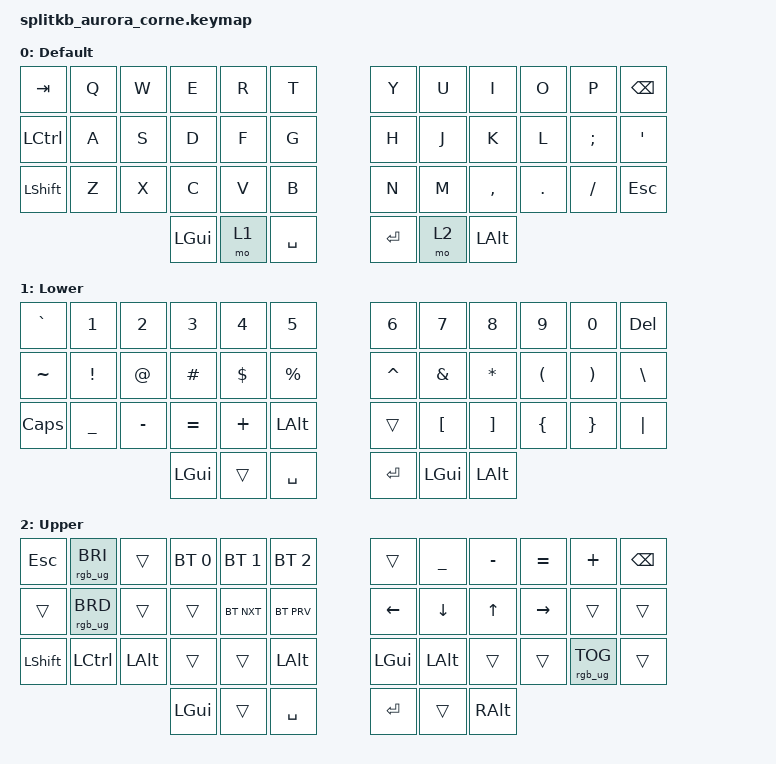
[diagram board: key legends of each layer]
/*
 * Copyright (c) 2020 The ZMK Contributors
 *
 * SPDX-License-Identifier: MIT
 */

#include <behaviors.dtsi>
#include <dt-bindings/zmk/keys.h>
#include <dt-bindings/zmk/bt.h>
#include <dt-bindings/zmk/rgb.h>

/ {

/****************************************
* Map keys to layers
****************************************/

        keymap {
                compatible = "zmk,keymap";

                /********************************
                * Layer: Default (&mo 0)
                ********************************/
                default_layer {
                        display-name = "Default";
                        bindings = <
// [    pinky    I      pinky       I    ring      I    middle    I   pointer   I   pointer   ]        [   pointer   I   pointer   I    middle    I     ring     I     pinky     I    pinky   ]
// ┌─────────────┬──────────────────┬──────────────┬──────────────┬─────────────┬─────────────┐        ┌─────────────┬─────────────┬──────────────┬──────────────┬───────────────┬────────────┐
// ⎮    TAB      |        Q         |      W       |      E       |      R      |      T      |        |      Y      |      U      |      I       |      O       |       P       |   BSPC ⌫   |
      &kp TAB           &kp Q            &kp W          &kp E          &kp R         &kp T                  &kp Y         &kp U         &kp I          &kp O           &kp P        &kp BSPC
// ├─────────────┼──────────────────┼──────────────┼──────────────┼─────────────┼─────────────┤        ├─────────────┼─────────────┼──────────────┼──────────────┼───────────────┼────────────┤
// |  CTRL (⌃)   |        A         |      S       |      D       |      F      |      G      |        |      H      |      J      |      K       |      L       |       ;       |     '      |
      &kp LCTRL         &kp A            &kp S          &kp D          &kp F         &kp G                  &kp H         &kp J         &kp K          &kp L         &kp SEMI        &kp SQT
// ├─────────────┼──────────────────┼──────────────┼──────────────┼─────────────┼─────────────┤        ├─────────────┼─────────────┼──────────────┼──────────────┼───────────────┼────────────┤
// |    SHFT     |        Z         |      X       |      C       |      V      |      B      |        |      N      |      M      |      ,       |      .       |       /       |     ESC    |
      &kp LSHFT         &kp Z            &kp X          &kp C          &kp V         &kp B                  &kp N         &kp M        &kp COMMA      &kp DOT        &kp FSLH        &kp ESC
// └─────────────┴──────────────────┴──────────────┼──────────────┬─────────────┬─────────────┤        ├─────────────┬─────────────┬──────────────┬──────────────┴───────────────┴────────────┘
//                                                 |   GUI (⌘)    |    LOWER    |     SPC     |        |     ENT     |    RAISE    |    OPT (⌥)   |
                                                     &kp LGUI         &mo 1       &kp SPACE                &kp RET        &mo 2        &kp LALT
//                                                 └──────────────┴─────────────┴─────────────┘        └─────────────┴─────────────┴──────────────┘
                        >;
                };

                /********************************
                * Layer: Lower (&mo 1)
                ********************************/
                lower_layer {
                        display-name = "Lower";
                        bindings = <
// ┌─────────────┬──────────────────┬──────────────┬──────────────┬─────────────┬─────────────┐        ┌─────────────┬─────────────┬──────────────┬──────────────┬───────────────┬────────────┐
// |      `      |        1         |      2       |      3       |     4       |      5      |        |      6      |      7      |      8       |      9       |       0       |   DEL ⌦    |
      &kp GRAVE         &kp N1           &kp N2         &kp N3        &kp N4         &kp N5                &kp N6        &kp N7        &kp N8          &kp N9          &kp N0        &kp DEL
// ├─────────────┼──────────────────┼──────────────┼──────────────┼─────────────┼─────────────┤        ├─────────────┼─────────────┼──────────────┼──────────────┼───────────────┼────────────┤
// |      ~      |        !         |      @       |      #       |     $       |      %      |        |      ^      |      &      |      *       |      (       |       )       |     \      |
      &kp TILDE        &kp EXCL         &kp AT         &kp HASH      &kp DLLR      &kp PRCNT              &kp CARET      &kp AMPS     &kp ASTRK       &kp LPAR        &kp RPAR       &kp BSLH
// ├─────────────┼──────────────────┼──────────────┼──────────────┼─────────────┼─────────────┤        ├─────────────┼─────────────┼──────────────┼──────────────┼───────────────┼────────────┤
// |  CAPS LOCK  |        _         |      -       |      =       |     +       |   OPT (⌥)   |        |             |      [      |      ]       |      {       |       }       |    "|"     |
      &kp CAPS         &kp UNDER        &kp MINUS      &kp EQUAL     &kp PLUS      &kp LALT                 &trans       &kp LBKT      &kp RBKT       &kp LBRC        &kp RBRC       &kp PIPE
// └─────────────┴──────────────────┴──────────────┼──────────────┬─────────────┬─────────────┤        ├─────────────┬─────────────┬──────────────┬──────────────┴───────────────┴────────────┘
//                                                 |   GUI (⌘)    |#############|     SPC     |        |     ENT     |   GUI (⌘)   |    OPT (⌥)   |
                                                       &kp LGUI       &trans       &kp SPACE               &kp RET       &kp LGUI      &kp LALT
//                                                 └──────────────┴─────────────┴─────────────┘        └─────────────┴─────────────┴──────────────┘
                        >;
                };

                /********************************
                * Layer: Upper (&mo 2)
                ********************************/
                raise_layer {
                        display-name = "Upper";
                        bindings = <
// ┌─────────────┬──────────────────┬──────────────┬──────────────┬─────────────┬─────────────┐        ┌─────────────┬─────────────┬──────────────┬──────────────┬───────────────┬─────────────┐
// |    ESC      |   Underqglow +   |              |    BT 0      |    BT 1     |    BT 2     |        |             |      _      |      -       |      =       |       +       |    BSPC ⌫   |
       &kp ESC     &rgb_ug RGB_BRI       &trans      &bt BT_SEL 0   &bt BT_SEL 1  &bt BT_SEL 2             &trans       &kp UNDER     &kp MINUS      &kp EQUAL       &kp PLUS        &kp BSPC
// ├─────────────┼──────────────────┼──────────────┼──────────────┼─────────────┼─────────────┤        ├─────────────┼─────────────┼──────────────┼──────────────┼───────────────┼─────────────┤
// |             |   Underglow -    |              |              |  BT NEXT      BT PREVIOUS |        |      ←      |      ↓      |       ↑      |      →       |               |             |
       &trans      &rgb_ug RGB_BRD       &trans         &trans      &bt BT_NXT     &bt BT_PRV             &kp LEFT      &kp DOWN        &kp UP       &kp RIGHT        &trans         &trans
// ├─────────────┼──────────────────┼──────────────┼──────────────┼─────────────┼─────────────┤        ├─────────────┼─────────────┼──────────────┼──────────────┼───────────────┼─────────────┤
// |    SHFT     |     CTRL (^)     |   OPT (⌥)    |              |             |   OPT (⌥)   |        |    GUI (⌘)  |   OPT (⌥)   |              |              |   Underglow   |             |
      &kp LSHFT        &kp LCTRL        &kp LALT        &trans        &trans        &kp LALT               &kp LGUI     &kp LALT        &trans         &trans     &rgb_ug RGB_TOG    &trans
// └─────────────┴──────────────────┴──────────────┼──────────────┬─────────────┬─────────────┤        ├─────────────┬─────────────┬──────────────┬──────────────┴───────────────┴─────────────┘
//                                                 |   GUI (⌘)    |             |     SPC     |        |      ENT    |#############|    OPT (⌥)   |
                                                       &kp LGUI       &trans       &kp SPACE                &kp RET      &trans        &kp RALT
//                                                 └──────────────┴─────────────┴─────────────┘        └─────────────┴─────────────┴──────────────┘
                        >;
                };
        };
        // End layers
};
